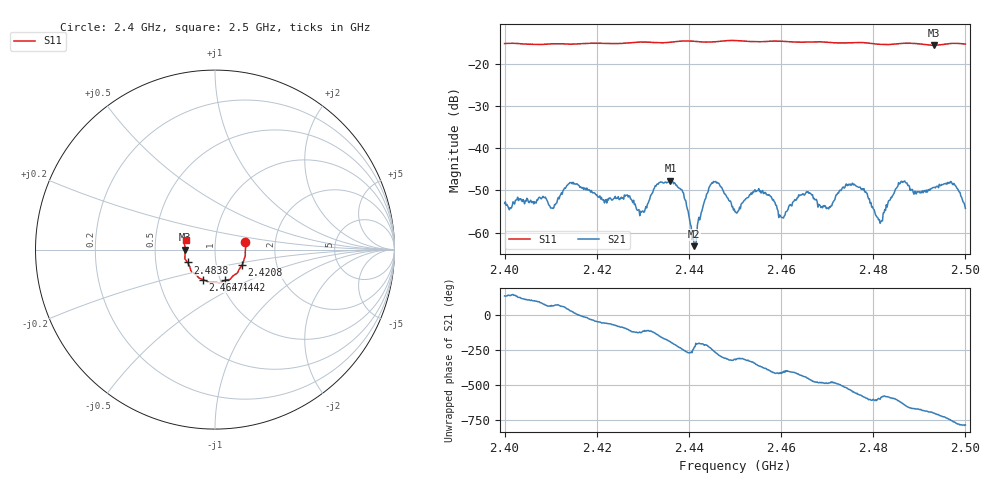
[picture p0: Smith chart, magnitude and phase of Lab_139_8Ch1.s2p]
# Hz S RI R 50
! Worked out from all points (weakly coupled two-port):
!   601 points, 2.4 GHz to 2.5 GHz, reference 50 ohm
!   highest |S21| = -47.68 dB at 2.436 GHz (marker M1); lowest = -63.2 dB at 2.4412 GHz (marker M2)
!   lowest |S11| = -15.6 dB at 2.4932 GHz (marker M3), VSWR 1.40, Z = 35.8 - j0.0827 ohm
!   |S11| at or under -10 dB: start of sweep to end of sweep
!   S12 and S22 are empty: the file has one direction only
!   S11 on the Smith chart (normalised r, x): 2.4 GHz: 1.40, +0.12; 2.4208 GHz: 1.33, -0.24; 2.4442 GHz: 1.05, -0.37; 2.4647 GHz: 0.83, -0.29; 2.4838 GHz: 0.73, -0.11; 2.5 GHz: 0.72, +0.08
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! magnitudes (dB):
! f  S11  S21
! 2.4 GHz  -15.2  -53.1
! 2.4167 GHz  -15.3  -49.4
! 2.4208 GHz  -15.2  -52.0
! 2.4298 GHz  -14.9  -55.0
! 2.4333 GHz  -15.0  -48.5
! 2.436 GHz  -14.9  -47.7
! 2.4388 GHz  -14.6  -50.6
! 2.4412 GHz  -14.7  -63.2
! 2.4442 GHz  -14.9  -50.3
! 2.45 GHz  -14.5  -55.1
! 2.4555 GHz  -14.8  -50.1
! 2.4603 GHz  -14.7  -56.4
! 2.4647 GHz  -14.9  -50.8
! 2.4667 GHz  -14.8  -51.1
! 2.4703 GHz  -14.9  -54.4
! 2.4758 GHz  -15.0  -48.5
! 2.4815 GHz  -15.4  -57.8
! 2.4833 GHz  -15.5  -52.4
! 2.4838 GHz  -15.4  -51.7
! 2.4932 GHz  -15.6  -49.3
! 2.4973 GHz  -15.2  -48.7
! 2.5 GHz  -15.3  -54.3
